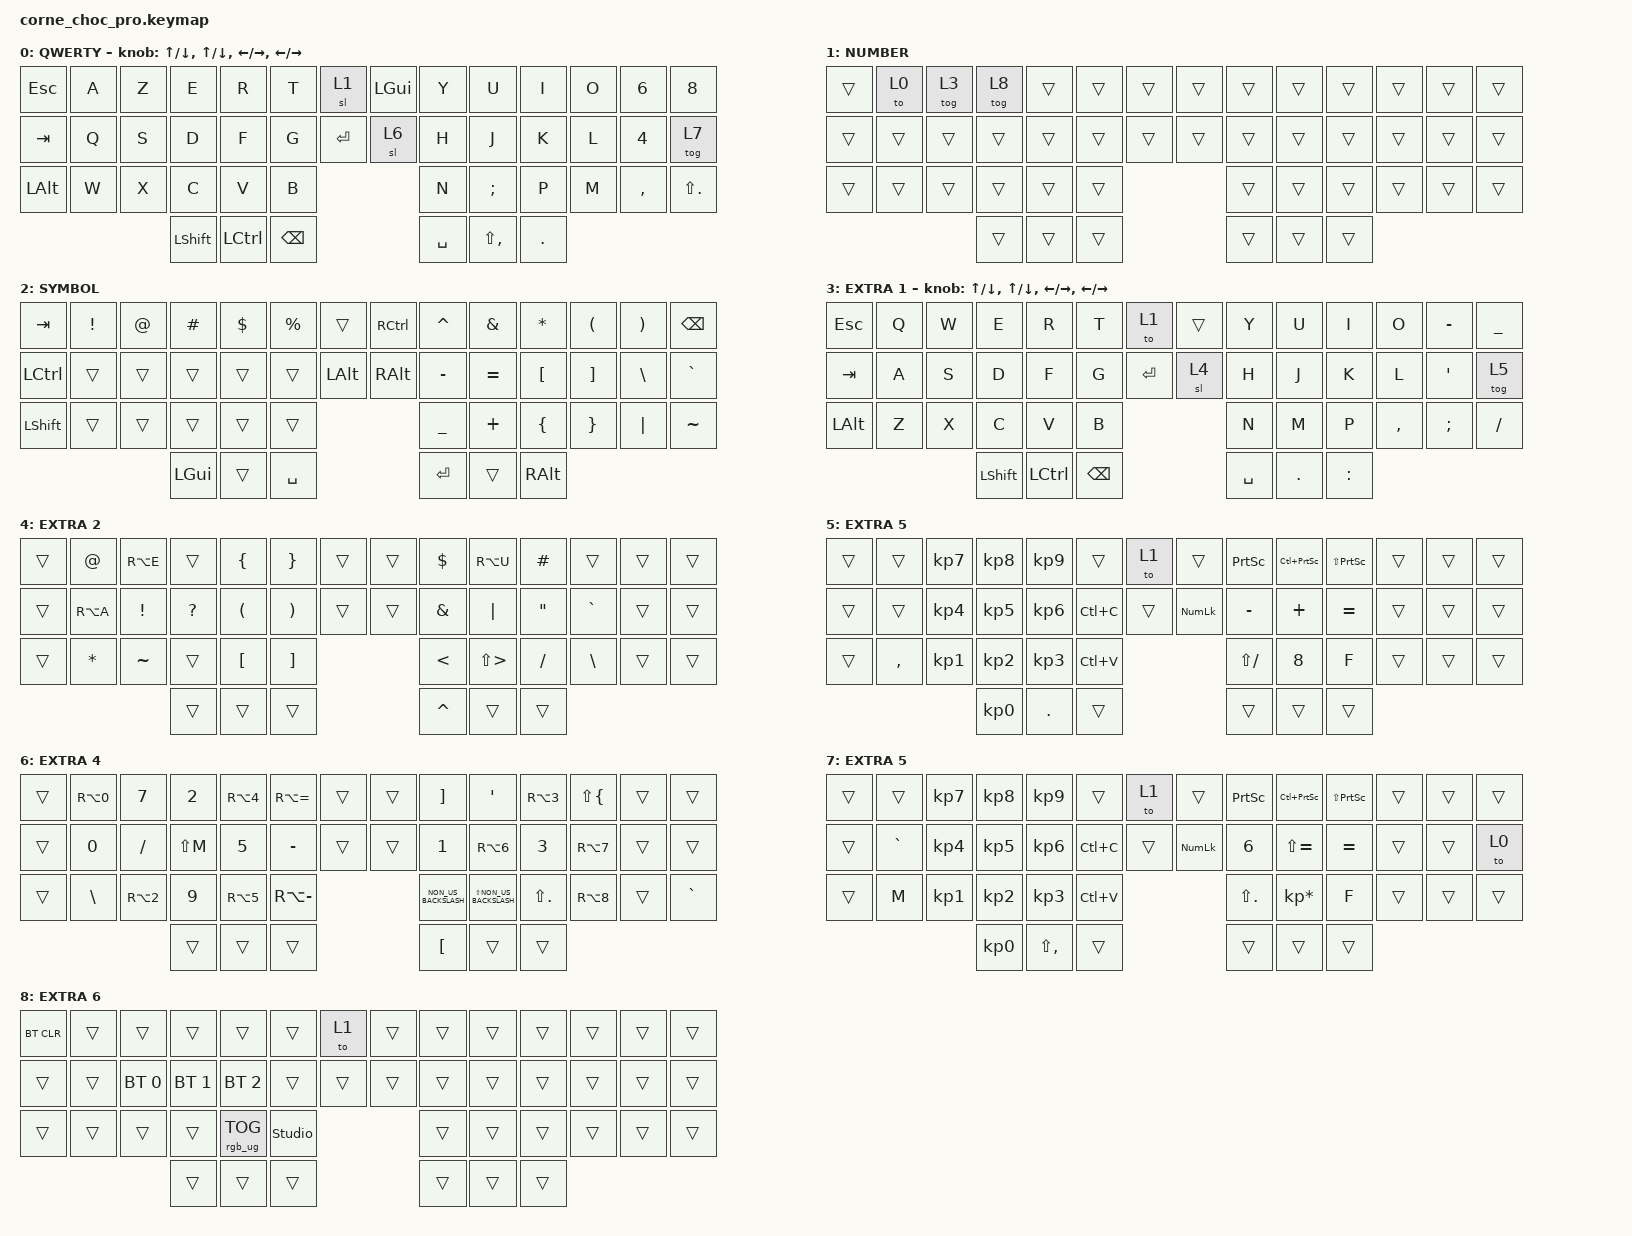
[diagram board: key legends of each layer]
/*
 * Copyright (c) 2020 The ZMK Contributors
 *
 * SPDX-License-Identifier: MIT
 */

#include <behaviors.dtsi>
#include <dt-bindings/zmk/bt.h>
#include <dt-bindings/zmk/keys.h>
#include <dt-bindings/zmk/rgb.h>

/ {
    chosen { zmk,physical-layout = &default_layout; };
};

/ {
    combos {
        compatible = "zmk,combos";

        delete {
            bindings = <&kp DEL>;
            key-positions = <41 0>;
        };

        f1 {
            bindings = <&kp F1>;
            key-positions = <0 1>;
        };

        f2 {
            bindings = <&kp F2>;
            key-positions = <0 2>;
        };

        f3 {
            bindings = <&kp F3>;
            key-positions = <0 3>;
        };

        f4 {
            bindings = <&kp F4>;
            key-positions = <0 4>;
        };

        f5 {
            bindings = <&kp F5>;
            key-positions = <0 5>;
        };

        f6 {
            bindings = <&kp F6>;
            key-positions = <0 15>;
        };

        f7 {
            bindings = <&kp F7>;
            key-positions = <0 16>;
        };

        f8 {
            bindings = <&kp F8>;
            key-positions = <0 17>;
        };

        f9 {
            bindings = <&kp F9>;
            key-positions = <0 18>;
        };

        f10 {
            bindings = <&kp F10>;
            key-positions = <0 19>;
        };

        f11 {
            bindings = <&kp F11>;
            key-positions = <0 29>;
        };

        f12 {
            bindings = <&kp F12>;
            key-positions = <0 30>;
        };
    };

    keymap {
        compatible = "zmk,keymap";

        default_layer {
            display-name = "QWERTY";

            // --------------------------------------------------------------------------------
            // |  TAB |  Q  |  W  |  E  |  R  |  T  |  MUTE |  PP   |  Y  |  U   |  I  |  O  |  P  | BSPC |
            // | CTRL |  A  |  S  |  D  |  F  |  G  |  LALT |  RALT |  H  |  J   |  K  |  L  |  ;  |  '   |
            // | SHFT |  Z  |  X  |  C  |  V  |  B  |               |  N  |  M   |  ,  |  .  |  /  | ESC  |
            //                    | GUI | LWR | SPC |               | ENT | RSE  | ALT |

            bindings = <
&kp ESCAPE    &kp A  &kp Z  &kp E           &kp R      &kp T          &sl 1    &kp LEFT_GUI  &kp Y      &kp U          &kp I       &kp O  &kp NUMBER_6  &kp N8
&kp TAB       &kp Q  &kp S  &kp D           &kp F      &kp G          &kp RET  &sl 6         &kp H      &kp J          &kp K       &kp L  &kp NUMBER_4  &tog 7
&kp LEFT_ALT  &kp W  &kp X  &kp C           &kp V      &kp B                                 &kp N      &kp SEMICOLON  &kp P       &kp M  &kp COMMA     &kp LS(PERIOD)
                            &kp LEFT_SHIFT  &kp LCTRL  &kp BACKSPACE                         &kp SPACE  &kp LS(COMMA)  &kp PERIOD
            >;

            sensor-bindings =
                <&inc_dec_kp UP_ARROW DOWN_ARROW>,
                <&inc_dec_kp UP_ARROW DOWN_ARROW>,
                <&inc_dec_kp LEFT_ARROW RIGHT_ARROW>,
                <&inc_dec_kp LEFT_ARROW RIGHT_ARROW>;
        };

        hub {
            display-name = "NUMBER";

            // -----------------------------------------------------------------------------------------
            // |  TAB |  1  |  2  |  3  |  4  |  5    |  LCTRL | RCTRL |  6  |  7  |  8  |  9  |  0  | BSPC |
            // | CTRL | BT1 | BT2 | BT3 | BT4 | BT5   |  LALT  | RALT  | LFT | DWN |  UP | RGT |     |      |
            // | SHFT | BTCR| RGB | RST | BOOT| Unlock|        |       |     |     |     |     |     |      |
            //                    | GUI |     | SPC   |        | ENT   |     | ALT |

            bindings = <
&trans  &to 0   &tog 3  &tog 8  &trans  &trans  &trans  &trans  &trans  &trans  &trans  &trans  &trans  &trans
&trans  &trans  &trans  &trans  &trans  &trans  &trans  &trans  &trans  &trans  &trans  &trans  &trans  &trans
&trans  &trans  &trans  &trans  &trans  &trans                  &trans  &trans  &trans  &trans  &trans  &trans
                        &trans  &trans  &trans                  &trans  &trans  &trans
            >;
        };

        raise_layer {
            display-name = "SYMBOL";

            // -----------------------------------------------------------------------------------------
            // |  TAB |  !  |  @  |  #  |  $  |  %  | LCTRL | RCTRL |  ^  |  &  |  *  |  (  |  )  | BSPC |
            // | CTRL |     |     |     |     |     |  LALT | RALT  |  -  |  =  |  [  |  ]  |  \  |  `   |
            // | SHFT |     |     |     |     |     |               |  _  |  +  |  {  |  }  | "|" |  ~   |
            //                    | GUI |     | SPC |               | ENT |     | ALT |

            bindings = <
&kp TAB    &kp EXCL  &kp AT  &kp HASH  &kp DLLR  &kp PRCNT  &trans    &kp RCTRL  &kp CARET  &kp AMPS   &kp ASTRK  &kp LPAR  &kp RPAR  &kp BSPC
&kp LCTRL  &trans    &trans  &trans    &trans    &trans     &kp LALT  &kp RALT   &kp MINUS  &kp EQUAL  &kp LBKT   &kp RBKT  &kp BSLH  &kp GRAVE
&kp LSHFT  &trans    &trans  &trans    &trans    &trans                          &kp UNDER  &kp PLUS   &kp LBRC   &kp RBRC  &kp PIPE  &kp TILDE
                             &kp LGUI  &trans    &kp SPACE                       &kp RET    &trans     &kp RALT
            >;
        };

        true_qwerty {
            display-name = "EXTRA 1";
            bindings = <
&kp ESCAPE    &kp Q  &kp W  &kp E           &kp R             &kp T          &to 1      &trans  &kp Y      &kp U       &kp I      &kp O      &kp MINUS      &kp UNDERSCORE
&kp TAB       &kp A  &kp S  &kp D           &kp F             &kp G          &kp ENTER  &sl 4   &kp H      &kp J       &kp K      &kp L      &kp SQT        &tog 5
&kp LEFT_ALT  &kp Z  &kp X  &kp C           &kp V             &kp B                             &kp N      &kp M       &kp P      &kp COMMA  &kp SEMICOLON  &kp SLASH
                            &kp LEFT_SHIFT  &kp LEFT_CONTROL  &kp BACKSPACE                     &kp SPACE  &kp PERIOD  &kp COLON
            >;

            sensor-bindings =
                <&inc_dec_kp UP_ARROW DOWN_ARROW>,
                <&inc_dec_kp UP_ARROW DOWN_ARROW>,
                <&inc_dec_kp LEFT_ARROW RIGHT_ARROW>,
                <&inc_dec_kp LEFT_ARROW RIGHT_ARROW>;
        };

        qwerty_symbols {
            display-name = "EXTRA 2";
            bindings = <
&trans  &kp AT     &kp RA(E)  &trans     &kp LBRC  &kp RBRC  &trans  &trans  &kp DLLR   &kp RA(U)   &kp POUND          &trans         &trans  &trans
&trans  &kp RA(A)  &kp EXCL   &kp QMARK  &kp LPAR  &kp RPAR  &trans  &trans  &kp AMPS   &kp PIPE    &kp DOUBLE_QUOTES  &kp GRAVE      &trans  &trans
&trans  &kp STAR   &kp TILDE  &trans     &kp LBKT  &kp RBKT                  &kp LT     &kp LS(GT)  &kp SLASH          &kp BACKSLASH  &trans  &trans
                              &trans     &trans    &trans                    &kp CARET  &trans      &trans
            >;
        };

        qwerty_numpad {
            display-name = "EXTRA 5";
            bindings = <
&trans  &trans     &kp KP_NUMBER_7  &kp KP_NUMBER_8  &kp KP_NUMBER_9  &trans     &to 1   &trans          &kp PRINTSCREEN  &kp LC(PRINTSCREEN)  &kp LS(PRINTSCREEN)  &trans  &trans  &trans
&trans  &trans     &kp KP_NUMBER_4  &kp KP_NUMBER_5  &kp KP_NUMBER_6  &kp LC(C)  &trans  &kp KP_NUMLOCK  &kp MINUS        &kp PLUS             &kp EQUAL            &trans  &trans  &trans
&trans  &kp COMMA  &kp KP_NUMBER_1  &kp KP_NUMBER_2  &kp KP_NUMBER_3  &kp LC(V)                          &kp LS(SLASH)    &kp N8               &kp F                &trans  &trans  &trans
                                    &kp KP_NUMBER_0  &kp PERIOD       &trans                             &trans           &trans               &trans
            >;
        };

        symbols {
            display-name = "EXTRA 4";
            bindings = <
&trans  &kp RA(N0)     &kp N7            &kp NUMBER_2  &kp RA(NUMBER_4)  &kp RA(EQUAL)  &trans  &trans  &kp RIGHT_BRACKET     &kp SQT                   &kp RA(NUMBER_3)  &kp LS(LEFT_BRACE)  &trans  &trans
&trans  &kp N0         &kp SLASH         &kp LS(M)     &kp N5            &kp MINUS      &trans  &trans  &kp NUMBER_1          &kp RA(NUMBER_6)          &kp NUMBER_3      &kp RA(N7)          &trans  &trans
&trans  &kp BACKSLASH  &kp RA(NUMBER_2)  &kp N9        &kp RA(N5)        &kp RA(MINUS)                  &kp NON_US_BACKSLASH  &kp LS(NON_US_BACKSLASH)  &kp LS(PERIOD)    &kp RA(N8)          &trans  &kp GRAVE
                                         &trans        &trans            &trans                         &kp LEFT_BRACKET      &trans                    &trans
            >;
        };

        numpad {
            display-name = "EXTRA 5";
            bindings = <
&trans  &trans     &kp KP_NUMBER_7  &kp KP_NUMBER_8  &kp KP_NUMBER_9  &trans     &to 1   &trans          &kp PRINTSCREEN  &kp LC(PRINTSCREEN)  &kp LS(PRINTSCREEN)  &trans  &trans  &trans
&trans  &kp GRAVE  &kp KP_NUMBER_4  &kp KP_NUMBER_5  &kp KP_NUMBER_6  &kp LC(C)  &trans  &kp KP_NUMLOCK  &kp NUMBER_6     &kp LS(EQUAL)        &kp EQUAL            &trans  &trans  &to 0
&trans  &kp M      &kp KP_NUMBER_1  &kp KP_NUMBER_2  &kp KP_NUMBER_3  &kp LC(V)                          &kp LS(PERIOD)   &kp KP_ASTERISK      &kp F                &trans  &trans  &trans
                                    &kp KP_N0        &kp LS(COMMA)    &trans                             &trans           &trans               &trans
            >;
        };

        bluetooth {
            display-name = "EXTRA 6";
            bindings = <
&bt BT_CLR  &trans  &trans        &trans        &trans           &trans          &to 1   &trans  &trans  &trans  &trans  &trans  &trans  &trans
&trans      &trans  &bt BT_SEL 0  &bt BT_SEL 1  &bt BT_SEL 2     &trans          &trans  &trans  &trans  &trans  &trans  &trans  &trans  &trans
&trans      &trans  &trans        &trans        &rgb_ug RGB_TOG  &studio_unlock                  &trans  &trans  &trans  &trans  &trans  &trans
                                  &trans        &trans           &trans                          &trans  &trans  &trans
            >;
        };
    };
};
